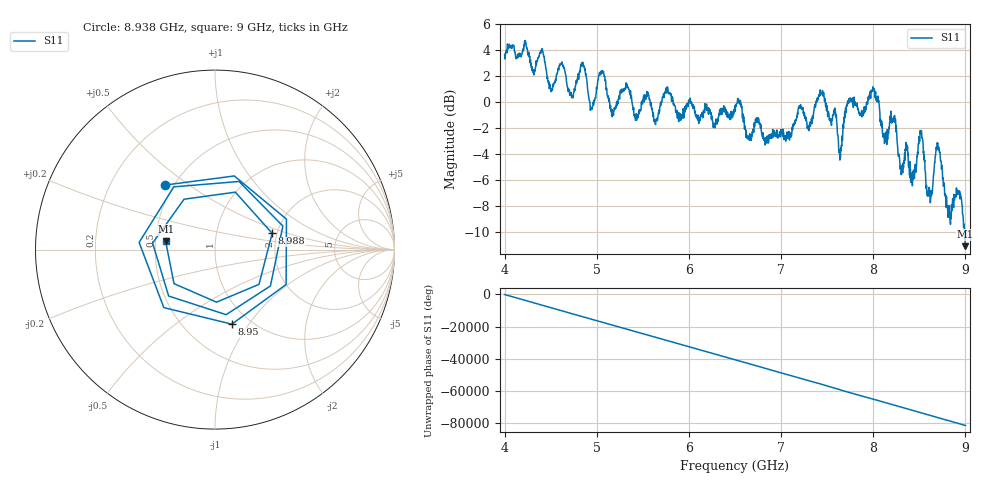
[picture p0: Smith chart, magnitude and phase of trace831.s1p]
! Created with skrf 1.8.0 (http://scikit-rf.org).
# Hz S RI R 50.0
!freq ReS11 ImS11
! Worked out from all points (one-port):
!   1601 points, 4 GHz to 9 GHz, reference 50 ohm
!   lowest |S11| = -11.1 dB at 9 GHz (marker M1), VSWR 1.77, Z = 28.3 + j2.85 ohm
!   |S11| at or under -10 dB: 8.990377 GHz to end of sweep
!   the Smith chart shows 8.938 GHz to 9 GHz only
!   S11 on the Smith chart (normalised r, x): 8.938 GHz: 0.45, +0.41; 8.95 GHz: 0.82, -0.84; 8.988 GHz: 1.88, +0.38; 9 GHz: 0.57, +0.06
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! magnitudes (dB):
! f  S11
! 4 GHz  3.7
! 4.403 GHz  4.1
! 4.509 GHz  1.0
! 4.625 GHz  2.9
! 4.728 GHz  0.3
! 4.85 GHz  2.8
! 4.941 GHz  -0.4
! 5.05 GHz  2.2
! 5.25 GHz  0.5
! 5.875 GHz  -1.2
! 6.5 GHz  -0.3
! 7.125 GHz  -2.1
! 7.441 GHz  0.7
! 7.644 GHz  -4.3
! 7.75 GHz  0.3
! 8 GHz  1.0
! 8.125 GHz  -3.1
! 8.216 GHz  -1.2
! 8.375 GHz  -4.1
! 8.441 GHz  -5.8
! 8.516 GHz  -2.5
! 8.609 GHz  -6.6
! 8.703 GHz  -3.4
! 8.822 GHz  -8.0
! 8.938 GHz  -6.9
! 8.95 GHz  -7.4
! 8.988 GHz  -9.6
! 9 GHz  -11.1
